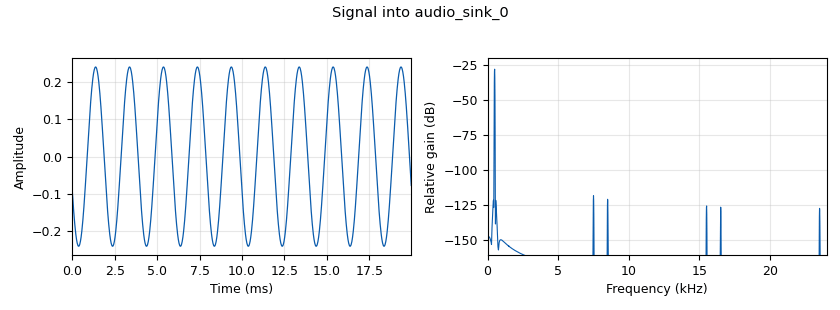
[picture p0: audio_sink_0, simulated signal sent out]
<?xml version='1.0' encoding='utf-8'?>
<?grc format='1' created='3.7.7'?>
<flow_graph>
<block>
<key>options</key>
<param><key>id</key><value>top_block</value></param>
<param><key>generate_options</key><value>wx_gui</value></param>
<param><key>category</key><value>Custom</value></param>
</block>
<block>
<key>variable</key>
<param><key>id</key><value>samp_rate</value></param>
<param><key>value</key><value>8000</value></param>
</block>
<block>
<key>audio_sink</key>
<param><key>id</key><value>audio_sink_0</value></param>
<param><key>samp_rate</key><value>48000</value></param>
</block>
<block>
<key>blocks_multiply_const_vxx</key>
<param><key>id</key><value>blocks_multiply_const_vxx_0</value></param>
<param><key>type</key><value>float</value></param>
<param><key>const</key><value>1.2</value></param>
</block>
<block>
<key>rational_resampler_xxx</key>
<param><key>id</key><value>rational_resampler_xxx_0</value></param>
<param><key>type</key><value>fff</value></param>
<param><key>interp</key><value>48000</value></param>
<param><key>decim</key><value>samp_rate</value></param>
<param><key>taps</key><value></value></param>
</block>
<block>
<key>analog_sig_source_x</key>
<param><key>id</key><value>analog_sig_source_x_0</value></param>
<param><key>type</key><value>float</value></param>
<param><key>samp_rate</key><value>samp_rate</value></param>
<param><key>waveform</key><value>analog.GR_COS_WAVE</value></param>
<param><key>freq</key><value>f</value></param>
<param><key>amp</key><value>0.2</value></param>
<param><key>offset</key><value>0</value></param>
</block>
<block>
<key>variable_slider</key>
<param><key>id</key><value>f</value></param>
<param><key>label</key><value>f</value></param>
<param><key>value</key><value>500</value></param>
<param><key>min</key><value>100</value></param>
<param><key>max</key><value>100e3</value></param>
<param><key>num_steps</key><value>1000</value></param>
<param><key>style</key><value>wx.SL_HORIZONTAL</value></param>
<param><key>converver</key><value>float_converter</value></param>
</block>
<connection><source_block_id>analog_sig_source_x_0</source_block_id><sink_block_id>rational_resampler_xxx_0</sink_block_id><source_key>0</source_key><sink_key>0</sink_key></connection>
<connection><source_block_id>rational_resampler_xxx_0</source_block_id><sink_block_id>blocks_multiply_const_vxx_0</sink_block_id><source_key>0</source_key><sink_key>0</sink_key></connection>
<connection><source_block_id>blocks_multiply_const_vxx_0</source_block_id><sink_block_id>audio_sink_0</sink_block_id><source_key>0</source_key><sink_key>0</sink_key></connection>
</flow_graph>
